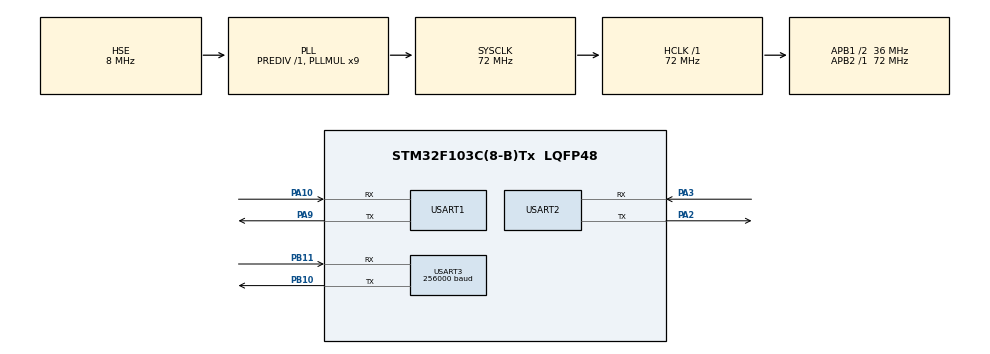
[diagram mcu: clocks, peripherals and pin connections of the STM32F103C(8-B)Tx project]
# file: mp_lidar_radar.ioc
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Mcu.Family=STM32F1
Mcu.Name=STM32F103C(8-B)Tx
Mcu.Package=LQFP48
NVIC.PriorityGroup=NVIC_PRIORITYGROUP_4
NVIC.USART1_IRQn=true\:0\:0\:false\:false\:true\:true\:true\:true
NVIC.USART2_IRQn=true\:0\:0\:false\:false\:true\:true\:true\:true
NVIC.USART3_IRQn=true\:0\:0\:false\:false\:true\:true\:true\:true
PA10.Mode=Asynchronous
PA10.Signal=USART1_RX
PA13.Mode=Serial_Wire
PA13.Signal=SYS_JTMS-SWDIO
PA14.Mode=Serial_Wire
PA14.Signal=SYS_JTCK-SWCLK
PA2.Mode=Asynchronous
PA2.Signal=USART2_TX
PA3.Mode=Asynchronous
PA3.Signal=USART2_RX
PA9.Mode=Asynchronous
PA9.Signal=USART1_TX
PB10.Mode=Asynchronous
PB10.Signal=USART3_TX
PB11.Mode=Asynchronous
PB11.Signal=USART3_RX
PD0-OSC_IN.Mode=HSE-External-Oscillator
PD0-OSC_IN.Signal=RCC_OSC_IN
PD1-OSC_OUT.Mode=HSE-External-Oscillator
PD1-OSC_OUT.Signal=RCC_OSC_OUT
ProjectManager.HeapSize=0x200
ProjectManager.StackSize=0x400
ProjectManager.TargetToolchain=STM32CubeIDE
RCC.AHBFreq_Value=72000000
RCC.APB1CLKDivider=RCC_HCLK_DIV2
RCC.APB1Freq_Value=36000000
RCC.APB1TimFreq_Value=72000000
RCC.APB2Freq_Value=72000000
RCC.APB2TimFreq_Value=72000000
RCC.HCLKFreq_Value=72000000
RCC.PLLMUL=RCC_PLL_MUL9
RCC.PLLSourceVirtual=RCC_PLLSOURCE_HSE
RCC.SYSCLKFreq_VALUE=72000000
RCC.SYSCLKSource=RCC_SYSCLKSOURCE_PLLCLK
RCC.USBFreq_Value=72000000
USART1.VirtualMode=VM_ASYNC
USART2.VirtualMode=VM_ASYNC
USART3.BaudRate=256000
USART3.VirtualMode=VM_ASYNC
board=custom

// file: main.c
/* USER CODE BEGIN Header */
/**
  ******************************************************************************
  * @file           : main.c
  * @brief          : Main program body
  ******************************************************************************
  * @attention
  *
  * Copyright (c) 2026 STMicroelectronics.
  * All rights reserved.
  *
  * This software is licensed under terms that can be found in the LICENSE file
  * in the root directory of this software component.
  * If no LICENSE file comes with this software, it is provided AS-IS.
  *
  ******************************************************************************
  */
/* USER CODE END Header */
#include "main.h"

/* USER CODE BEGIN Includes */
#include <stdio.h>
#include <string.h>
/* USER CODE END Includes */

UART_HandleTypeDef huart1;
UART_HandleTypeDef huart2;
UART_HandleTypeDef huart3;

/* USER CODE BEGIN PV */
uint8_t radar_rx;
uint8_t radar_buf[20];
uint8_t radar_idx = 0;
uint8_t radar_ready = 0;

uint8_t lidar_rx;
uint8_t lidar_buf[5];
uint8_t lidar_packet[5];
uint8_t lidar_idx = 0;
uint8_t lidar_ready = 0;

uint8_t byte;
uint8_t prev_radar = 0;
/* USER CODE END PV */

void SystemClock_Config(void);
static void MX_GPIO_Init(void);
static void MX_USART1_UART_Init(void);
static void MX_USART2_UART_Init(void);
static void MX_USART3_UART_Init(void);
/* USER CODE BEGIN PFP */
void process_lidar(void)
{
    uint8_t *d = lidar_packet;

    uint16_t angle_raw = ((d[2] << 8) | d[1]) >> 1;
    float angle = angle_raw / 64.0;

    uint16_t dist = (d[4] << 8) | d[3];

    if (dist == 0) return;

    // Reduce spam (IMPORTANT)
    static int skip = 0;
    skip++;
    if (skip % 20 != 0) return;

    printf("LIDAR:%.1f,%d\r\n", angle, dist);
}

void process_radar(void)
{
    uint16_t dist[8];

    for (int i = 0; i < 8; i++)
    {
        dist[i] = (radar_buf[2 + i*2] << 8) | radar_buf[3 + i*2];

        if (dist[i] == 0xFFFF)
            dist[i] = 0;
    }

    printf("RADAR:");

    for (int i = 0; i < 8; i++)
    {
        printf("%d", dist[i]);
        if (i < 7) printf(",");
    }

    printf("\r\n");
}

void HAL_UART_RxCpltCallback(UART_HandleTypeDef *huart)
{
	if (huart->Instance == USART2)
	    {
	        if (prev_radar == 0x54 && radar_rx == 0x48)
	        {
	            radar_idx = 0;
	            radar_buf[radar_idx++] = 0x54;
	            radar_buf[radar_idx++] = 0x48;
	        }
	        else if (radar_idx > 0 && radar_idx < 20)
	        {
	            radar_buf[radar_idx++] = radar_rx;

	            if (radar_idx == 20)
	            {
	                radar_ready = 1;
	                radar_idx = 0;
	            }
	        }

	        prev_radar = radar_rx;

	        HAL_UART_Receive_IT(&huart2, &radar_rx, 1);
	    }

	    // -------- LIDAR (USART3) --------
	    if (huart->Instance == USART3)
	    {
	        lidar_buf[lidar_idx++] = lidar_rx;

	        if (lidar_idx == 5)
	        {
	            memcpy(lidar_packet, lidar_buf, 5);
	            lidar_ready = 1;
	            lidar_idx = 0;
	        }

	        HAL_UART_Receive_IT(&huart3, &lidar_rx, 1);
	    }
}

int _write(int file, char *ptr, int len)
{
    HAL_UART_Transmit(&huart1, (uint8_t*)ptr, len, HAL_MAX_DELAY);
    return len;
}
/* USER CODE END PFP */

int main(void)
{

  /* MCU Configuration--------------------------------------------------------*/

  /* Reset of all peripherals, Initializes the Flash interface and the Systick. */
  HAL_Init();

  /* Configure the system clock */
  SystemClock_Config();

  /* Initialize all configured peripherals */
  MX_GPIO_Init();
  MX_USART1_UART_Init();
  MX_USART2_UART_Init();
  MX_USART3_UART_Init();
  /* USER CODE BEGIN 2 */
  HAL_UART_Receive_IT(&huart2, &radar_rx, 1); // Radar
  HAL_UART_Receive_IT(&huart3, &lidar_rx, 1); // Lidar

  // Start LiDAR scanning
  HAL_Delay(1000);
  uint8_t start_scan[] = {0xA5, 0x20};
  HAL_UART_Transmit(&huart3, start_scan, 2, 100);
  /* USER CODE END 2 */

  /* Infinite loop */
  while (1)
  {

    /* USER CODE BEGIN 3 */
	  if (radar_ready)
	      {
	          radar_ready = 0;
	          process_radar();
	      }

	      if (lidar_ready)
	      {
	          lidar_ready = 0;
	          process_lidar();
	      }
  }
  /* USER CODE END 3 */
}

void SystemClock_Config(void)
{
  RCC_OscInitTypeDef RCC_OscInitStruct = {0};
  RCC_ClkInitTypeDef RCC_ClkInitStruct = {0};

  /** Initializes the RCC Oscillators according to the specified parameters
  * in the RCC_OscInitTypeDef structure.
  */
  RCC_OscInitStruct.OscillatorType = RCC_OSCILLATORTYPE_HSE;
  RCC_OscInitStruct.HSEState = RCC_HSE_ON;
  RCC_OscInitStruct.HSEPredivValue = RCC_HSE_PREDIV_DIV1;
  RCC_OscInitStruct.HSIState = RCC_HSI_ON;
  RCC_OscInitStruct.PLL.PLLState = RCC_PLL_ON;
  RCC_OscInitStruct.PLL.PLLSource = RCC_PLLSOURCE_HSE;
  RCC_OscInitStruct.PLL.PLLMUL = RCC_PLL_MUL9;
  if (HAL_RCC_OscConfig(&RCC_OscInitStruct) != HAL_OK)
  {
    Error_Handler();
  }

  /** Initializes the CPU, AHB and APB buses clocks
  */
  RCC_ClkInitStruct.ClockType = RCC_CLOCKTYPE_HCLK|RCC_CLOCKTYPE_SYSCLK
                              |RCC_CLOCKTYPE_PCLK1|RCC_CLOCKTYPE_PCLK2;
  RCC_ClkInitStruct.SYSCLKSource = RCC_SYSCLKSOURCE_PLLCLK;
  RCC_ClkInitStruct.AHBCLKDivider = RCC_SYSCLK_DIV1;
  RCC_ClkInitStruct.APB1CLKDivider = RCC_HCLK_DIV2;
  RCC_ClkInitStruct.APB2CLKDivider = RCC_HCLK_DIV1;

  if (HAL_RCC_ClockConfig(&RCC_ClkInitStruct, FLASH_LATENCY_2) != HAL_OK)
  {
    Error_Handler();
  }
}

static void MX_USART1_UART_Init(void)
{

  huart1.Instance = USART1;
  huart1.Init.BaudRate = 115200;
  huart1.Init.WordLength = UART_WORDLENGTH_8B;
  huart1.Init.StopBits = UART_STOPBITS_1;
  huart1.Init.Parity = UART_PARITY_NONE;
  huart1.Init.Mode = UART_MODE_TX_RX;
  huart1.Init.HwFlowCtl = UART_HWCONTROL_NONE;
  huart1.Init.OverSampling = UART_OVERSAMPLING_16;
  if (HAL_UART_Init(&huart1) != HAL_OK)
  {
    Error_Handler();
  }

}

static void MX_USART2_UART_Init(void)
{

  huart2.Instance = USART2;
  huart2.Init.BaudRate = 115200;
  huart2.Init.WordLength = UART_WORDLENGTH_8B;
  huart2.Init.StopBits = UART_STOPBITS_1;
  huart2.Init.Parity = UART_PARITY_NONE;
  huart2.Init.Mode = UART_MODE_TX_RX;
  huart2.Init.HwFlowCtl = UART_HWCONTROL_NONE;
  huart2.Init.OverSampling = UART_OVERSAMPLING_16;
  if (HAL_UART_Init(&huart2) != HAL_OK)
  {
    Error_Handler();
  }

}

static void MX_USART3_UART_Init(void)
{

  huart3.Instance = USART3;
  huart3.Init.BaudRate = 256000;
  huart3.Init.WordLength = UART_WORDLENGTH_8B;
  huart3.Init.StopBits = UART_STOPBITS_1;
  huart3.Init.Parity = UART_PARITY_NONE;
  huart3.Init.Mode = UART_MODE_TX_RX;
  huart3.Init.HwFlowCtl = UART_HWCONTROL_NONE;
  huart3.Init.OverSampling = UART_OVERSAMPLING_16;
  if (HAL_UART_Init(&huart3) != HAL_OK)
  {
    Error_Handler();
  }

}

static void MX_GPIO_Init(void)
{

  /* GPIO Ports Clock Enable */
  __HAL_RCC_GPIOD_CLK_ENABLE();
  __HAL_RCC_GPIOA_CLK_ENABLE();
  __HAL_RCC_GPIOB_CLK_ENABLE();

}

void Error_Handler(void)
{
  __disable_irq();
  while (1)
  {
  }
}
